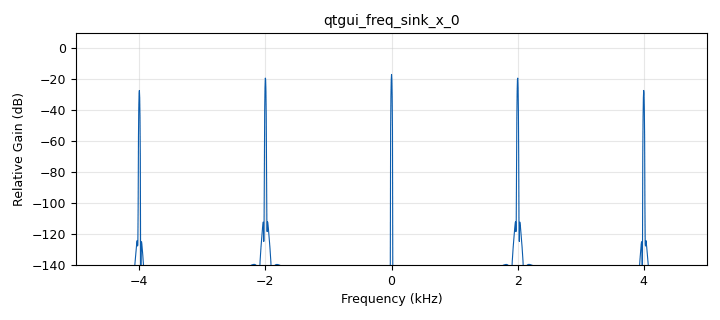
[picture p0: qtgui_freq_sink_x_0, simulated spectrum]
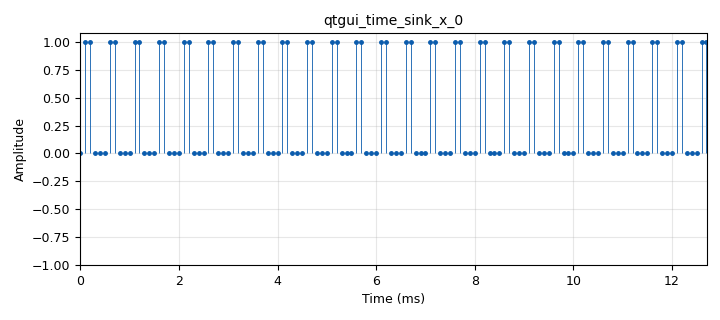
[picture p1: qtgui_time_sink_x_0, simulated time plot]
options:
  parameters:
    author: Jesus_Garcia_Juan_Gonzalez_B1B_G4
    generate_options: qt_gui
    id: Lab_comu_1
    output_language: python
    title: LAB1 - (PUNTO B)
  states: {}

blocks:
- name: Amplitud
  id: variable_qtgui_range
  parameters:
    start: '0'
    step: '0.1'
    stop: '5'
    value: '2'
  states: {state: disabled}
- name: Frequency
  id: variable
  parameters:
    value: samp_rate/3
  states: {state: disabled}
- name: freq
  id: variable_qtgui_range
  parameters:
    label: Frequency
    start: '1000'
    step: '1000'
    stop: '40000'
    value: '2000'
  states: {}
- name: samp_rate
  id: variable
  parameters:
    value: '32000'
  states: {state: disabled}
- name: samp_rate
  id: variable_qtgui_range
  parameters:
    label: frecuencia de muestreo
    start: '1000'
    step: '1000'
    stop: '80000'
    value: '10000'
  states: {}
- name: analog_sig_source_x_0
  id: analog_sig_source_x
  parameters:
    amp: '1'
    freq: freq
    offset: '0'
    phase: '0'
    samp_rate: samp_rate
    type: float
    waveform: analog.GR_SQR_WAVE
  states: {}
- name: blocks_throttle_0
  id: blocks_throttle
  parameters:
    samples_per_second: samp_rate
    type: float
  states: {}
- name: qtgui_freq_sink_x_0
  id: qtgui_freq_sink_x
  parameters:
    bw: samp_rate
    fc: '0'
    fftsize: '2048'
    type: float
  states: {}
- name: qtgui_time_sink_x_0
  id: qtgui_time_sink_x
  parameters:
    size: '128'
    srate: samp_rate
    stemplot: 'True'
    type: float
  states: {}

connections:
- [analog_sig_source_x_0, '0', blocks_throttle_0, '0']
- [blocks_throttle_0, '0', qtgui_freq_sink_x_0, '0']
- [blocks_throttle_0, '0', qtgui_time_sink_x_0, '0']

metadata:
  file_format: 1
  grc_version: 3.9.8.0
